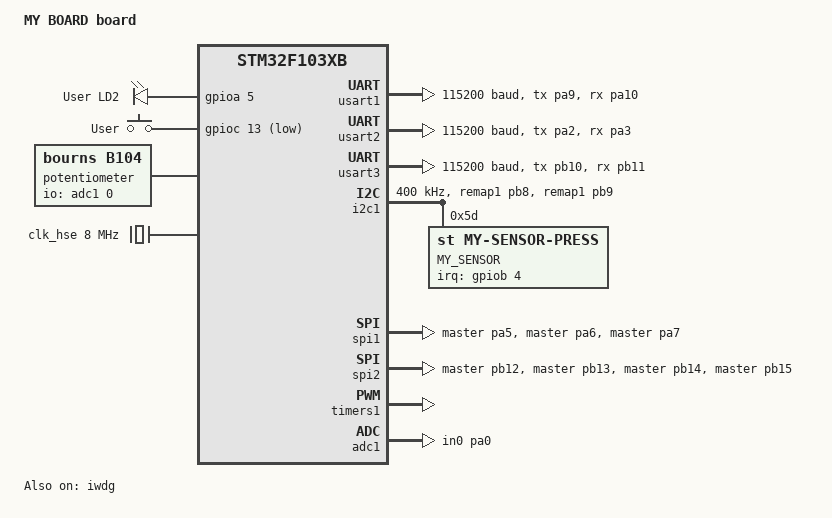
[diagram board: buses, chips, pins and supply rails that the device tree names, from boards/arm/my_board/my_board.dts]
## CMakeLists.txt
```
cmake_minimum_required(VERSION 3.20.0)

list(APPEND ZEPHYR_EXTRA_MODULES ${CMAKE_CURRENT_SOURCE_DIR}/my_driver)
  
find_package(Zephyr)
project(my_zephyr_app)

target_sources(app PRIVATE src/main.c)
```

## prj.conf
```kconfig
CONFIG_MY_DRIVER=y
CONFIG_APPLICATION_DEFINED_SYSCALL=y
CONFIG_I2C=y
CONFIG_SENSOR=y
CONFIG_LPS25HB=y
CONFIG_LPS25HB_SAMPLING_RATE=1
CONFIG_LOG=y
CONFIG_LOG_OVERRIDE_LEVEL=3
```

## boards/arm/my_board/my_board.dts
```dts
/*
 * Copyright (c) 2017 Linaro Limited
 *
 * SPDX-License-Identifier: Apache-2.0
 */

/dts-v1/;
#include <st/f1/stm32f103Xb.dtsi>
#include <st/f1/stm32f103r(8-b)tx-pinctrl.dtsi>

/ {
	model = "MY BOARD board";
	compatible = "jp,my-board";

	chosen {
		zephyr,console = &usart2;
		zephyr,shell-uart = &usart2;
		zephyr,sram = &sram0;
		zephyr,flash = &flash0;
	};

	leds {
		compatible = "gpio-leds";
		green_led_2: led_2 {
			gpios = <&gpioa 5 GPIO_ACTIVE_HIGH>;
			label = "User LD2";
		};
	};

	gpio_keys {
		compatible = "gpio-keys";
		user_button: button {
			label = "User";
			gpios = <&gpioc 13 GPIO_ACTIVE_LOW>;
		};
	};

	potentiometer {
		compatible = "bourns,b104";
		io-channels = <&adc1 0>;
	};

	aliases {
		led0 = &green_led_2;
		sw0 = &user_button;
	};
};

&clk_hse {
	hse-bypass;
	clock-frequency = <DT_FREQ_M(8)>; /* STLink 8MHz clock */
	status = "okay";
};

&pll {
	mul = <9>;
	clocks = <&clk_hse>;
	status = "okay";
};

&rcc {
	clocks = <&pll>;
	clock-frequency = <DT_FREQ_M(72)>;
	ahb-prescaler = <1>;
	apb1-prescaler = <2>;
	apb2-prescaler = <1>;
};

&usart1 {
	pinctrl-0 = <&usart1_tx_pa9 &usart1_rx_pa10>;
	pinctrl-names = "default";
	current-speed = <115200>;
	status = "okay";
};

&usart2 {
	pinctrl-0 = <&usart2_tx_pa2 &usart2_rx_pa3>;
	pinctrl-names = "default";
	current-speed = <115200>;
	status = "okay";
};

&usart3 {
	pinctrl-0 = <&usart3_tx_pb10 &usart3_rx_pb11>;
	pinctrl-names = "default";
	current-speed = <115200>;
};

&i2c1 {
	pinctrl-0 = <&i2c1_scl_remap1_pb8 &i2c1_sda_remap1_pb9>;
	pinctrl-names = "default";
	status = "okay";
	clock-frequency = <I2C_BITRATE_FAST>;
	
	my_sensor: my-sensor@5d {
		compatible = "st,my-sensor-press";
		label = "MY_SENSOR";
		reg = <0x5d>;
		irq-gpios = <&gpiob 4 GPIO_ACTIVE_HIGH>;
	};
};

&spi1 {
	pinctrl-0 = <&spi1_sck_master_pa5 &spi1_miso_master_pa6 &spi1_mosi_master_pa7>;
	pinctrl-names = "default";
	cs-gpios = <&gpiob 6 (GPIO_ACTIVE_LOW | GPIO_PULL_UP)>;
	status = "okay";
};

&spi2 {
	pinctrl-0 = <&spi2_nss_master_pb12 &spi2_sck_master_pb13
		     &spi2_miso_master_pb14 &spi2_mosi_master_pb15>;
	pinctrl-names = "default";
	status = "okay";
};

&timers1 {
	st,prescaler = <10000>;
	status = "okay";

	pwm1: pwm {
		status = "okay";
		pinctrl-0 = <&tim1_ch1_pwm_out_pa8>;
		pinctrl-names = "default";
	};
};

&iwdg {
	status = "okay";
};

&adc1 {
	pinctrl-0 = <&adc1_in0_pa0>;
	pinctrl-names = "default";
	status = "okay";
};

&dma1 {
	status = "okay";
};

&flash0 {
	partitions {
		compatible = "fixed-partitions";
		#address-cells = <1>;
		#size-cells = <1>;

		/* Set 2KB of storage at the end of 128KB flash */
		storage_partition: partition@1f800 {
			label = "storage";
			reg = <0x0001f800 0x00000800>;
		};
	};
};
```

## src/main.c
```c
#include <zephyr.h>
#include <sys/printk.h>
#include <drivers/gpio.h>
#include <drivers/sensor.h>
#include "my_driver.h"


/* -------------------- FIFO -------------------- */
typedef struct my_fifo_data {
	struct sensor_value press;
} my_data_t;

K_FIFO_DEFINE(my_fifo);


/* -------------------- my_tread -------------------- */
void my_tread(void)
{
	const struct device *lps25hb = device_get_binding(DT_LABEL(DT_INST(0, st_lps25hb_press)));
	my_data_t my_data = {0};
	
	printk("Starting my_thread\n");
	
	// Sensor test (producer)
	if ( !device_is_ready(lps25hb) ) {
		printk("Could not get LPS25HB device\n");
		return;
	}
	
	while (1)
	{
		if ( sensor_sample_fetch(lps25hb) < 0 ) {
			printk("LPS25HB sensor sample fetch error\n");
			return;
		}
		
		sensor_channel_get(lps25hb, SENSOR_CHAN_PRESS, &(my_data.press));
		
		k_fifo_put(&my_fifo, &my_data);

		k_msleep(2000);
	}
}

K_THREAD_DEFINE(my_tread_id, 1024, my_tread, NULL, NULL, NULL, 7, 0, 0);


/* -------------------- main [NOTA : more relevant in an application that would only requires a single thread] -------------------- */
void main(void)
{	
	/* [NOTA] 'gpios' property (index 0) from 'green_led_2' node (which alias is 'led0') */
	const struct gpio_dt_spec led = GPIO_DT_SPEC_GET_BY_IDX(DT_ALIAS(led0), gpios, 0);
	
	const struct device *dev = device_get_binding("MY_DEVICE");
	
	my_data_t *p_my_data = NULL;
	
	printk("Test with board %s\n", CONFIG_BOARD);
	
	// Driver test
	if ( !device_is_ready(dev) ) {
		printk("Could not get MY_DEVICE\n");
		return;
	}
	
	printk("my_driver_do_this (%d)\n", my_driver_do_this(dev, 2, 3));
	my_driver_do_that(dev, NULL);
	
	// LED test
	if ( !device_is_ready(led.port) ) {
		printk("Could not get LED\n");
		return;
	}
	
	gpio_pin_configure_dt(&led, GPIO_OUTPUT_ACTIVE);
	
	while (1)
	{
		// Sensor test (consumer)
		p_my_data = k_fifo_get(&my_fifo, K_FOREVER);
		printk("pressure = %d | %d\n", p_my_data->press.val1, p_my_data->press.val2);
		
		gpio_pin_toggle_dt(&led);
	}
}
```
